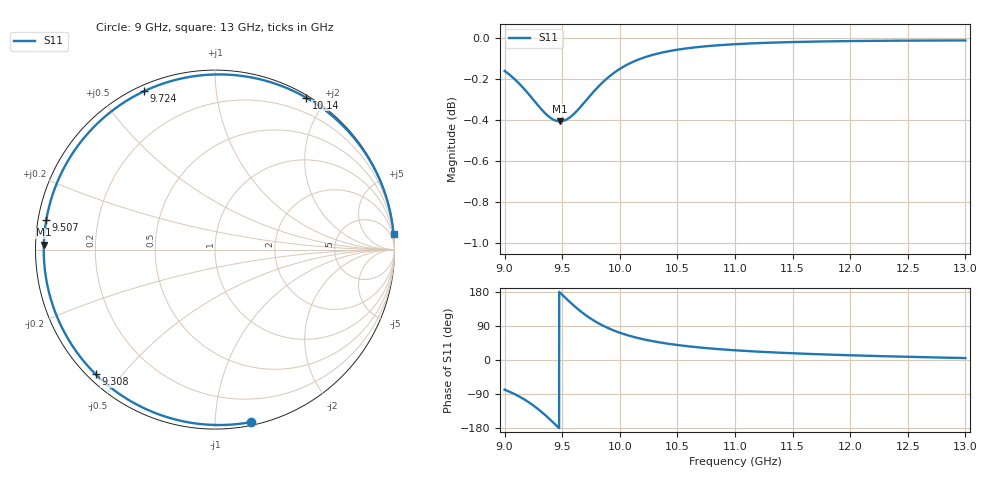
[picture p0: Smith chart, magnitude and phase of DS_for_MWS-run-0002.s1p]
! TOUCHSTONE file generated by CST DESIGN STUDIO
! Date and time: Tue Feb  4 13:56:46 2025
! Project name: C:\Work\MatlabApps\UnitCellOptimizationMatlab\CST\unitcell.cst
! Tree item: Tasks\Sweep1\SPara1\S-Parameters
! Header version: 2024
! Port assignment regex: !\s*Touchstone port\s*([0-9]+)\s*=\s*(CST MWS port|CST DES external port|CST DES block port)\s*(.+)\s* \(\"(.*)\"\)(\s*mode\s*([0-9]+))?.*
! Touchstone port assignment:
! Touchstone port 1 = CST DES external port 1 ("")
# GHz S MA R 50
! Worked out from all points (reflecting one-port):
!   4001 points, 9 GHz to 13 GHz, reference 50 ohm
!   lowest |S11| = -0.4 dB at 9.479 GHz (marker M1), VSWR 42.79, Z = 1.17 + j0.725 ohm
!   phase of S11 starts at -78 deg and turns -277 deg over the sweep
!   S11 on the Smith chart (normalised r, x): 9 GHz: 0.02, -1.23; 9.308 GHz: 0.02, -0.43; 9.507 GHz: 0.02, +0.09; 9.724 GHz: 0.02, +0.65; 10.14 GHz: 0.03, +1.76; 13 GHz: 0, +23
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9  0.9816 -78.3
9.077  0.9777 -88.5
9.175  0.9714 -104.8
9.244  0.9663 -118.8
9.308  0.9616 -133.8
9.353  0.9586 -145.5
9.401  0.956 -158.9
9.441  0.9547 -170.5
9.479  0.9543 178.3
9.5  0.9545 172.1
9.507  0.9546 170.1
9.559  0.9561 155.1
9.619  0.9593 138.8
9.671  0.9629 125.9
9.724  0.9668 114.1
9.779  0.9707 103.2
9.841  0.9748 92.6
9.919  0.9791 81.5
10  0.9828 72.0
10.143  0.9874 59.1
10.304  0.9908 48.6
10.5  0.9934 39.6
10.722  0.9951 32.2
11  0.9964 25.6
11.5  0.9976 17.8
12  0.9982 12.5
12.5  0.9984 8.4
13  0.9985 5.1
